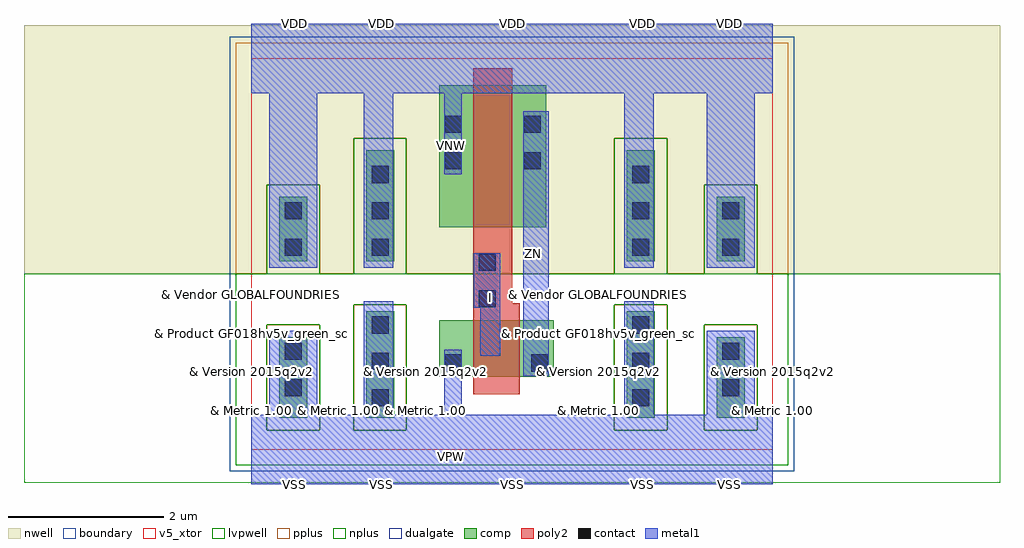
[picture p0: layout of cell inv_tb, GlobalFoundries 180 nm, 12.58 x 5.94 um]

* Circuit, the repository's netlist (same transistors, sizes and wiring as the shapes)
* Extracted by KLayout with GF180MCU LVS runset on : 31/07/2026 17:56

.SUBCKT inv_tb I VDD VSS ZN
M$1 ZN I VDD VDD pfet_05v0 L=0.5U W=1.83U AS=0.8052P AD=0.8052P PS=4.54U
+ PD=4.54U
M$2 ZN I VSS VSS nfet_05v0 L=0.6U W=0.73U AS=0.3212P AD=0.3212P PS=2.34U
+ PD=2.34U
.ENDS inv_tb

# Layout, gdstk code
import gdstk
lib = gdstk.Library(unit=1e-6, precision=1e-09)
def R(c, l, rs):  # rectangles x0, y0, x1, y1
    for r in rs: c.add(gdstk.rectangle(r[:2], r[2:], *l))
def A(c, l, x, y, w, h, nx, ny, dx, dy):  # array of equal rectangles
    R(c, l, [(x+i*dx, y+j*dy, x+i*dx+w, y+j*dy+h) for i in range(nx) for j in range(ny)])
def P(c, l, *ps):  # polygons
    for p in ps: c.add(gdstk.Polygon(p, *l))
boundary = (0, 0)
nwell = (21, 0)
comp = (22, 0)
poly2 = (30, 0)
pplus = (31, 0)
nplus = (32, 0)
contact = (33, 0)
metal1 = (34, 0)
dualgate = (55, 0)
v5_xtor = (112, 1)
lvpwell = (204, 0)

inv_tb = lib.new_cell('inv_tb')
R(inv_tb, boundary, [(0,0,1.12,5.04), (1.12,0,2.24,5.04), (2.24,0,4.48,5.04), (4.48,0,5.6,5.04), (5.6,0,6.72,5.04)])
R(inv_tb, nwell, [(-2.93,2.265,1.55,5.47), (0.69,2.265,2.67,5.47), (1.81,2.265,4.91,5.47), (4.05,2.265,6.03,5.47), (5.17,2.265,9.65,5.47)])
R(inv_tb, comp, [(0.36,0.41,0.72,1.445), (1.48,0.41,1.84,1.785), (4.84,0.41,5.2,1.785), (6,0.41,6.36,1.445), (2.42,0.935,3.9,1.665), (0.36,2.425,0.72,3.255), (1.48,2.425,1.84,3.855), (4.84,2.425,5.2,3.855), (6,2.425,6.36,3.255), (2.42,2.865,3.8,4.695)])
P(inv_tb, poly2, [(2.86,0.715),(2.86,4.915),(3.36,4.915),(3.36,1.885),(3.46,1.885),(3.46,0.715)])
R(inv_tb, pplus, [(0.2,0.25,0.88,1.605), (1.32,0.25,2,1.865), (4.68,0.25,5.36,1.865), (5.84,0.25,6.52,1.605), (2.04,2.265,4.68,5.24)])
P(inv_tb, pplus, [(-0.2,2.265),(-0.2,5.24),(1.32,5.24),(1.32,2.265),(0.88,2.265),(0.88,3.415),(0.2,3.415),(0.2,2.265)],
  [(0.92,2.265),(0.92,5.24),(2.44,5.24),(2.44,2.265),(2,2.265),(2,4.015),(1.32,4.015),(1.32,2.265)],
  [(4.28,2.265),(4.28,5.24),(5.8,5.24),(5.8,2.265),(5.36,2.265),(5.36,4.015),(4.68,4.015),(4.68,2.265)],
  [(5.4,2.265),(5.4,5.24),(6.92,5.24),(6.92,2.265),(6.52,2.265),(6.52,3.415),(5.84,3.415),(5.84,2.265)])
R(inv_tb, nplus, [(2.04,-0.2,4.68,2.265)])
P(inv_tb, nplus, [(-0.2,-0.2),(-0.2,2.265),(0.2,2.265),(0.2,3.415),(0.88,3.415),(0.88,1.605),(0.2,1.605),(0.2,0.25),(0.88,0.25),(0.88,3.415),(0.88,2.265),(1.32,2.265),(1.32,-0.2)],
  [(0.92,-0.2),(0.92,2.265),(1.32,2.265),(1.32,4.015),(2,4.015),(2,1.865),(1.32,1.865),(1.32,0.25),(2,0.25),(2,4.015),(2,2.265),(2.44,2.265),(2.44,-0.2)],
  [(4.28,-0.2),(4.28,2.265),(4.68,2.265),(4.68,4.015),(5.36,4.015),(5.36,1.865),(4.68,1.865),(4.68,0.25),(5.36,0.25),(5.36,4.015),(5.36,2.265),(5.8,2.265),(5.8,-0.2)],
  [(5.4,-0.2),(5.4,2.265),(5.84,2.265),(5.84,3.415),(5.84,0.25),(6.52,0.25),(6.52,1.605),(5.84,1.605),(5.84,3.415),(6.52,3.415),(6.52,2.265),(6.92,2.265),(6.92,-0.2)])
A(inv_tb, contact, 1.55, 0.555, 0.22, 0.22, 1, 3, 0, 0.47)
A(inv_tb, contact, 4.91, 0.555, 0.22, 0.22, 1, 3, 0, 0.47)
A(inv_tb, contact, 1.55, 2.495, 0.22, 0.22, 1, 3, 0, 0.47)
A(inv_tb, contact, 4.91, 2.495, 0.22, 0.22, 1, 3, 0, 0.47)
R(inv_tb, contact, [(0.43,0.685,0.65,0.905), (6.07,0.685,6.29,0.905), (2.49,1.005,2.71,1.225), (3.61,1.005,3.83,1.225), (0.43,1.155,0.65,1.375), (6.07,1.155,6.29,1.375), (2.93,1.835,3.15,2.055), (2.93,2.305,3.15,2.525), (0.43,2.495,0.65,2.715), (6.07,2.495,6.29,2.715), (0.43,2.965,0.65,3.185), (6.07,2.965,6.29,3.185), (2.49,3.61,2.71,3.83), (3.51,3.61,3.73,3.83), (2.49,4.08,2.71,4.3), (3.51,4.08,3.73,4.3)])
R(inv_tb, metal1, [(3.505,0.945,3.835,4.36)])
P(inv_tb, metal1, [(0,-0.45),(0,0.45),(0.23,0.45),(0.23,1.53),(0.85,1.53),(0.85,0.45),(1.12,0.45),(1.12,-0.45)],
  [(0.23,2.34),(0.23,4.59),(0,4.59),(0,5.49),(1.12,5.49),(1.12,4.59),(0.85,4.59),(0.85,2.34)],
  [(1.12,-0.45),(1.12,0.45),(1.45,0.45),(1.45,1.91),(1.83,1.91),(1.83,0.45),(2.24,0.45),(2.24,-0.45)],
  [(1.45,2.34),(1.45,4.59),(1.12,4.59),(1.12,5.49),(2.24,5.49),(2.24,4.59),(1.83,4.59),(1.83,2.34)],
  [(2.95,1.21),(2.95,1.83),(2.87,1.83),(2.87,2.53),(3.21,2.53),(3.21,1.21)],
  [(2.24,-0.45),(2.24,0.45),(2.485,0.45),(2.485,1.285),(2.715,1.285),(2.715,0.45),(4.48,0.45),(4.48,-0.45)],
  [(2.485,3.55),(2.485,4.59),(2.24,4.59),(2.24,5.49),(4.48,5.49),(4.48,4.59),(2.715,4.59),(2.715,3.55)],
  [(4.48,-0.45),(4.48,0.45),(4.81,0.45),(4.81,1.91),(5.19,1.91),(5.19,0.45),(5.6,0.45),(5.6,-0.45)],
  [(4.81,2.34),(4.81,4.59),(4.48,4.59),(4.48,5.49),(5.6,5.49),(5.6,4.59),(5.19,4.59),(5.19,2.34)],
  [(5.6,-0.45),(5.6,0.45),(5.87,0.45),(5.87,1.53),(6.49,1.53),(6.49,0.45),(6.72,0.45),(6.72,-0.45)],
  [(5.87,2.34),(5.87,4.59),(5.6,4.59),(5.6,5.49),(6.72,5.49),(6.72,4.59),(6.49,4.59),(6.49,2.34)])
R(inv_tb, dualgate, [(-0.28,-0.28,1.4,5.32), (0.84,-0.28,2.52,5.32), (1.96,-0.28,4.76,5.32), (4.2,-0.28,5.88,5.32), (5.32,-0.28,7,5.32)])
R(inv_tb, v5_xtor, [(0,0,1.12,5.04), (1.12,0,2.24,5.04), (2.24,0,4.48,5.04), (4.48,0,5.6,5.04), (5.6,0,6.72,5.04)])
R(inv_tb, lvpwell, [(-2.93,-0.43,1.55,2.265), (0.69,-0.43,2.67,2.265), (1.81,-0.43,4.91,2.265), (4.05,-0.43,6.03,2.265), (5.17,-0.43,9.65,2.265)])
inv_tb.add(gdstk.Label('VSS', (0.56,-0.45), layer=34, texttype=10))
inv_tb.add(gdstk.Label('VDD', (0.56,5.49), layer=34, texttype=10))
inv_tb.add(gdstk.Label('VSS', (1.68,-0.45), layer=34, texttype=10))
inv_tb.add(gdstk.Label('VDD', (1.68,5.49), layer=34, texttype=10))
inv_tb.add(gdstk.Label('I', (3.08,1.96), layer=34, texttype=10))
inv_tb.add(gdstk.Label('VDD', (3.36,5.49), layer=34, texttype=10))
inv_tb.add(gdstk.Label('VSS', (3.36,-0.45), layer=34, texttype=10))
inv_tb.add(gdstk.Label('ZN', (3.64,2.52), layer=34, texttype=10))
inv_tb.add(gdstk.Label('VSS', (5.04,-0.45), layer=34, texttype=10))
inv_tb.add(gdstk.Label('VDD', (5.04,5.49), layer=34, texttype=10))
inv_tb.add(gdstk.Label('VSS', (6.16,-0.45), layer=34, texttype=10))
inv_tb.add(gdstk.Label('VDD', (6.16,5.49), layer=34, texttype=10))
inv_tb.add(gdstk.Label('& Vendor GLOBALFOUNDRIES', (0,2), layer=63, texttype=63))
inv_tb.add(gdstk.Label('& Product GF018hv5v_green_sc9', (0,1.5), layer=63, texttype=63))
inv_tb.add(gdstk.Label('& Version 2015q2v2', (0,1), layer=63, texttype=63))
inv_tb.add(gdstk.Label('& Metric 1.00', (0,0.5), layer=63, texttype=63))
inv_tb.add(gdstk.Label('& Vendor GLOBALFOUNDRIES', (1.12,2), layer=63, texttype=63))
inv_tb.add(gdstk.Label('& Product GF018hv5v_green_sc9', (1.12,1.5), layer=63, texttype=63))
inv_tb.add(gdstk.Label('& Version 2015q2v2', (1.12,1), layer=63, texttype=63))
inv_tb.add(gdstk.Label('& Metric 1.00', (1.12,0.5), layer=63, texttype=63))
inv_tb.add(gdstk.Label('& Vendor GLOBALFOUNDRIES', (2.24,2), layer=63, texttype=63))
inv_tb.add(gdstk.Label('& Product GF018hv5v_green_sc9', (2.24,1.5), layer=63, texttype=63))
inv_tb.add(gdstk.Label('& Version 2015q2v2', (2.24,1), layer=63, texttype=63))
inv_tb.add(gdstk.Label('& Metric 1.00', (2.24,0.5), layer=63, texttype=63))
inv_tb.add(gdstk.Label('& Vendor GLOBALFOUNDRIES', (4.48,2), layer=63, texttype=63))
inv_tb.add(gdstk.Label('& Product GF018hv5v_green_sc9', (4.48,1.5), layer=63, texttype=63))
inv_tb.add(gdstk.Label('& Version 2015q2v2', (4.48,1), layer=63, texttype=63))
inv_tb.add(gdstk.Label('& Metric 1.00', (4.48,0.5), layer=63, texttype=63))
inv_tb.add(gdstk.Label('& Vendor GLOBALFOUNDRIES', (6.72,2), layer=63, texttype=63))
inv_tb.add(gdstk.Label('& Product GF018hv5v_green_sc9', (6.72,1.5), layer=63, texttype=63))
inv_tb.add(gdstk.Label('& Version 2015q2v2', (6.72,1), layer=63, texttype=63))
inv_tb.add(gdstk.Label('& Metric 1.00', (6.72,0.5), layer=63, texttype=63))
inv_tb.add(gdstk.Label('VNW', (2.585,3.92), layer=21, texttype=10))
inv_tb.add(gdstk.Label('VPW', (2.58,-0.085), layer=204, texttype=10))

lib.write_gds('inv_tb.gds')
